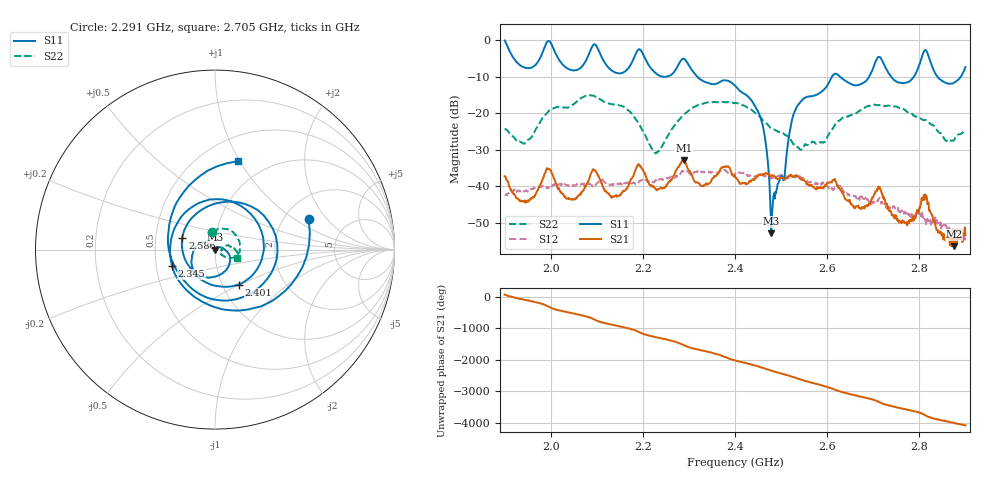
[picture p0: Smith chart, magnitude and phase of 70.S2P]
! C:\Users\rflab\Downloads\Lab5_KD_ZW\70.S2P
! Touchstone 1.1 file saved by VNA.EXE V1.65 (www.ke5fx.com/gpib/readme.htm)
! 11/11/2024 11:42:18 PM
!  Source: HEWLETT PACKARD,8753D,0,6.14
!  Min freq: 1.900000E+009 Hz
!  Max freq: 2.900000E+009 Hz
!  Points: 801
!  Params: S11 S21 S12 S22
# GHZ S RI R 50
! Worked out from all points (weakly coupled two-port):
!   801 points, 1.9 GHz to 2.9 GHz, reference 50 ohm
!   highest |S21| = -32.82 dB at 2.289 GHz (marker M1); lowest = -56.5 dB at 2.875 GHz (marker M2)
!   lowest |S11| = -52.9 dB at 2.479 GHz (marker M3), VSWR 1.00, Z = 50.2 + j0.0385 ohm
!   |S11| at or under -10 dB: 2.318 GHz to 2.61 GHz (291.9 MHz wide, 11.8 % of centre); 2.628 GHz to 2.691 GHz (63.15 MHz wide, 2.37 % of centre); 2.84 GHz to 2.89 GHz (50.41 MHz wide, 1.76 % of centre) (the widest 3 of 6)
!   |S22| runs from -31.0 to -15.0 dB; largest |S21 - S12| = 0.009
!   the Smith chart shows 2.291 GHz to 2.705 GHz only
!   S11 on the Smith chart (normalised r, x): 2.291 GHz: 2.72, +1.31; 2.345 GHz: 0.60, -0.12; 2.401 GHz: 1.19, -0.49; 2.586 GHz: 0.69, +0.10; 2.705 GHz: 0.74, +0.99
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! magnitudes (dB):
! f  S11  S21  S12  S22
! 1.9 GHz  0.0  -37.3  -42.5  -24.3
! 1.944 GHz  -7.5  -43.9  -41.4  -28.3
! 1.995 GHz  -0.2  -35.3  -40.3  -19.5
! 2.067 GHz  -7.2  -41.7  -39.3  -15.7
! 2.149 GHz  -9.1  -42.6  -39.3  -17.8
! 2.191 GHz  -2.5  -34.0  -38.8  -22.9
! 2.234 GHz  -9.6  -40.9  -38.1  -30.5
! 2.289 GHz  -5.0  -32.8  -36.0  -20.4
! 2.291 GHz  -5.2  -33.2  -36.1  -20.1
! 2.345 GHz  -11.8  -39.2  -36.0  -17.1
! 2.4 GHz  -12.4  -37.2  -36.7  -17.1
! 2.401 GHz  -12.6  -37.6  -36.5  -17.2
! 2.456 GHz  -21.5  -36.8  -36.8  -21.3
! 2.479 GHz  -52.9  -37.2  -37.9  -24.1
! 2.529 GHz  -19.7  -37.2  -37.6  -28.6
! 2.567 GHz  -15.3  -39.9  -39.0  -27.8
! 2.586 GHz  -14.2  -40.5  -39.2  -27.9
! 2.705 GHz  -5.8  -41.4  -44.6  -17.7
! 2.734 GHz  -9.1  -46.6  -45.6  -17.9
! 2.811 GHz  -2.8  -43.8  -49.0  -21.9
! 2.875 GHz  -11.7  -56.5  -52.4  -27.4
! 2.9 GHz  -7.3  -53.5  -54.3  -24.7
